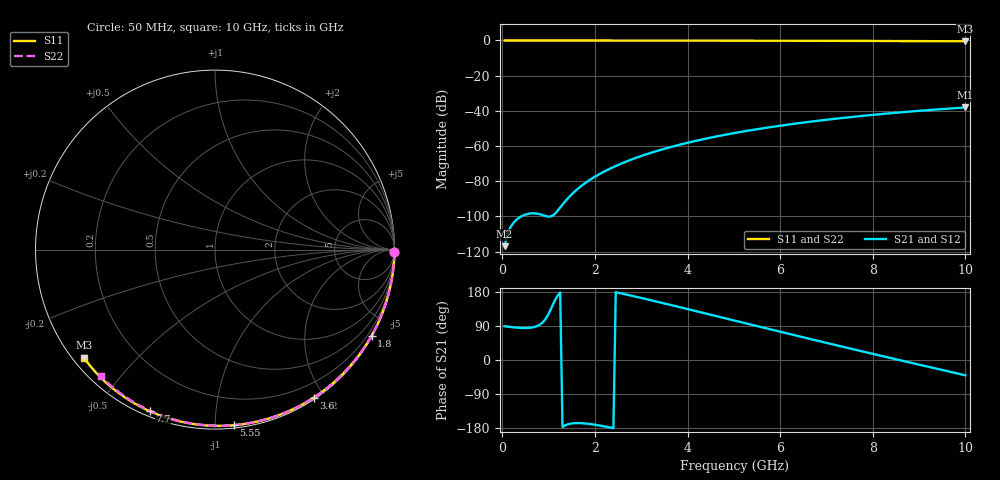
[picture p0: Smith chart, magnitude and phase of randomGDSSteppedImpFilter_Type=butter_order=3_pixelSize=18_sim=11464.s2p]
! freq	dB(S11)	phase(S11)	dB(S12)	phase(S12)
!  dB(S21)	phase(S21)	dB(S22)	phase(S22)
!S-par simulation data
#  GHz  S  DB  R 50
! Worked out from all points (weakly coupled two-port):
!   200 points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, 50 MHz to 10 GHz, reference 50 ohm
!   highest |S21| = -38.09 dB at 10 GHz (marker M1); lowest = -117.0 dB at 50 MHz (marker M2)
!   lowest |S11| = -0.5 dB at 10 GHz (marker M3), VSWR 36.69, Z = 1.54 - j17.9 ohm
!   |S11| at or under -10 dB: nowhere
!   |S22| runs from -0.4 to 0.0 dB; largest |S21 - S12| = 0
!   S11 on the Smith chart (normalised r, x): 50 MHz: open; 1.8 GHz: 0.03, -3.89; 3.6 GHz: 0.02, -1.87; 5.55 GHz: 0.02, -1.11; 7.7 GHz: 0.02, -0.67; 10 GHz: 0.03, -0.36
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0.05  -0.00 -0.8  -116.96 89.2  -116.96 89.2  -0.00 -0.8
0.45  -0.01 -7.3  -99.48 84.4  -99.48 84.4  -0.01 -6.9
0.9  -0.02 -14.6  -99.53 102.9  -99.53 102.9  -0.02 -13.7
1.75  -0.04 -28.0  -81.86 -167.1  -81.86 -167.1  -0.03 -26.3
1.8  -0.04 -28.8  -80.90 -167.6  -80.90 -167.6  -0.03 -27.1
1.85  -0.04 -29.6  -79.99 -168.3  -79.99 -168.3  -0.04 -27.8
2  -0.04 -32.0  -77.48 -170.8  -77.48 -170.8  -0.04 -30.0
2.15  -0.04 -34.3  -75.23 -173.9  -75.23 -173.9  -0.04 -32.2
2.35  -0.05 -37.4  -72.57 -178.7  -72.57 -178.7  -0.05 -35.1
2.55  -0.05 -40.5  -70.21 176.2  -70.21 176.2  -0.05 -38.0
2.95  -0.06 -46.6  -66.16 165.2  -66.16 165.2  -0.06 -43.7
3.4  -0.07 -53.3  -62.36 152.2  -62.36 152.2  -0.07 -50.1
3.6  -0.08 -56.3  -60.87 146.3  -60.87 146.3  -0.07 -52.9
4.3  -0.09 -66.5  -56.37 125.5  -56.37 125.5  -0.09 -62.5
5.05  -0.12 -77.1  -52.47 103.0  -52.47 103.0  -0.11 -72.5
5.55  -0.14 -83.9  -50.25 88.0  -50.25 88.0  -0.13 -79.0
6.1  -0.16 -91.3  -48.10 71.6  -48.10 71.6  -0.15 -86.0
6.7  -0.19 -99.2  -46.03 53.9  -46.03 53.9  -0.18 -93.4
7.7  -0.26 -112.0  -43.09 24.8  -43.09 24.8  -0.24 -105.5
8.35  -0.31 -120.2  -41.46 6.1  -41.46 6.1  -0.29 -113.1
9.2  -0.39 -130.7  -39.60 -18.0  -39.60 -18.0  -0.36 -122.9
10  -0.47 -140.5  -38.09 -40.3  -38.09 -40.3  -0.45 -132.0
